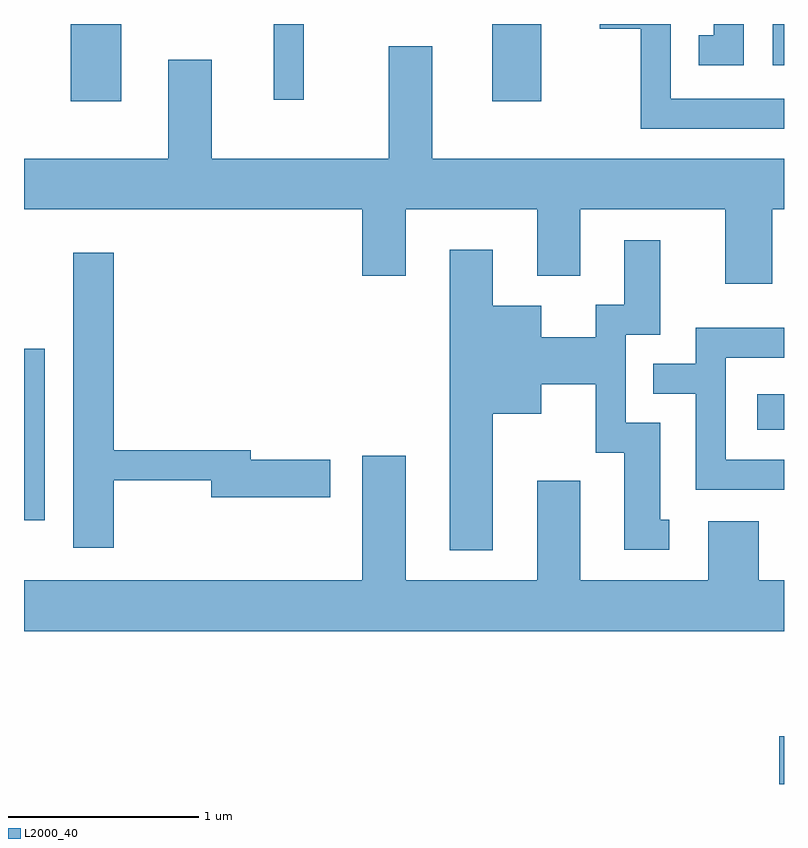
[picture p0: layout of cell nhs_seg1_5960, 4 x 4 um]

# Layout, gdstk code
import gdstk
lib = gdstk.Library(unit=1e-6, precision=1e-09)
def R(c, l, rs):  # rectangles x0, y0, x1, y1
    for r in rs: c.add(gdstk.rectangle(r[:2], r[2:], *l))
def P(c, l, *ps):  # polygons
    for p in ps: c.add(gdstk.Polygon(p, *l))
L2000_40 = (2000, 40)

nhs_seg1_5960 = lib.new_cell('nhs_seg1_5960')
R(nhs_seg1_5960, L2000_40, [(369.586,847.712,369.611,847.964), (365.611,849.101,365.719,850.003), (369.471,849.576,369.611,849.764), (365.856,851.306,366.124,851.712), (368.076,851.306,368.334,851.712), (366.926,851.313,367.084,851.712), (369.551,851.496,369.611,851.712)])
P(nhs_seg1_5960, L2000_40, [(369.399,851.712),(369.241,851.712),(369.241,851.654),(369.163,851.654),(369.163,851.496),(369.399,851.496)],
  [(369.611,851.319),(369.014,851.319),(369.014,851.712),(368.641,851.712),(368.641,851.686),(368.856,851.686),(368.856,851.161),(369.611,851.161)],
  [(369.549,850.736),(369.611,850.736),(369.611,851.004),(367.759,851.004),(367.759,851.594),(367.531,851.594),(367.531,851.004),(366.599,851.004),(366.599,851.524),(366.371,851.524),(366.371,851.004),(365.611,851.004),(365.611,850.736),(367.391,850.736),(367.391,850.386),(367.619,850.386),(367.619,850.736),(368.311,850.736),(368.311,850.386),(368.539,850.386),(368.539,850.736),(369.301,850.736),(369.301,850.346),(369.549,850.346)],
  [(368.079,849.661),(368.334,849.661),(368.334,849.816),(368.621,849.816),(368.621,849.456),(368.771,849.456),(368.771,848.946),(369.008,848.946),(369.008,849.104),(368.959,849.104),(368.959,849.614),(368.779,849.614),(368.779,850.076),(368.959,850.076),(368.959,850.574),(368.771,850.574),(368.771,850.234),(368.621,850.234),(368.621,850.064),(368.334,850.064),(368.334,850.229),(368.079,850.229),(368.079,850.524),(367.851,850.524),(367.851,848.941),(368.079,848.941)],
  [(366.084,849.311),(366.596,849.311),(366.596,849.221),(367.224,849.221),(367.224,849.419),(366.804,849.419),(366.804,849.469),(366.084,849.469),(366.084,850.509),(365.871,850.509),(365.871,848.956),(366.084,848.956)],
  [(369.611,849.419),(369.304,849.419),(369.304,849.956),(369.611,849.956),(369.611,850.114),(369.146,850.114),(369.146,849.924),(368.923,849.924),(368.923,849.766),(369.146,849.766),(369.146,849.261),(369.611,849.261)],
  [(369.611,848.784),(369.479,848.784),(369.479,849.094),(369.211,849.094),(369.211,848.784),(368.539,848.784),(368.539,849.309),(368.311,849.309),(368.311,848.784),(367.619,848.784),(367.619,849.439),(367.391,849.439),(367.391,848.784),(365.611,848.784),(365.611,848.516),(369.611,848.516)])

lib.write_gds('nhs_seg1_5960.gds')
